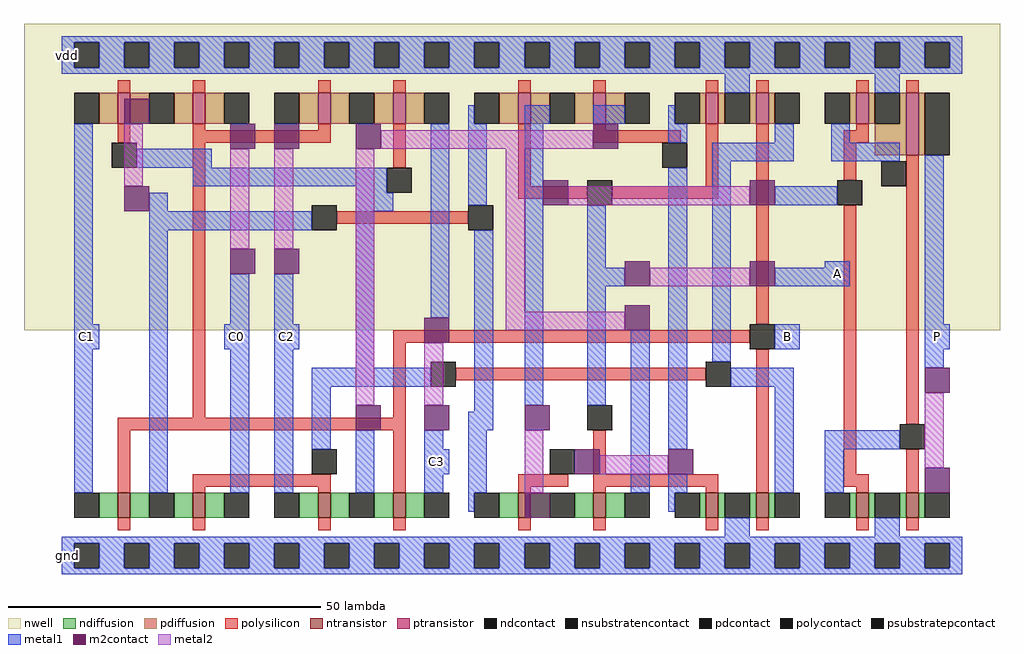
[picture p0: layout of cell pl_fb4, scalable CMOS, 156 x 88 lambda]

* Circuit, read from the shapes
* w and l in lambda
.subckt pl_fb4 A B C0 C1 C2 C3 P vdd gnd
M1 n1 B C1 gnd nfet w=4 l=2
M2 C0 n2 n1 gnd nfet w=4 l=2
M3 n3 n2 C2 gnd nfet w=4 l=2
M4 C3 B n3 gnd nfet w=4 l=2
M5 n4 n5 n1 gnd nfet w=4 l=2
M6 n3 A n4 gnd nfet w=4 l=2
M7 gnd A n5 gnd nfet w=4 l=2
M8 n2 B gnd gnd nfet w=4 l=2
M9 gnd n4 n6 gnd nfet w=4 l=2
M10 P n6 gnd gnd nfet w=4 l=2
M11 n1 n2 C1 vdd pfet w=5 l=2
M12 C0 B n1 vdd pfet w=5 l=2
M13 n3 B C2 vdd pfet w=5 l=2
M14 C3 n2 n3 vdd pfet w=5 l=2
M15 n4 A n1 vdd pfet w=5 l=2
M16 n3 n5 n4 vdd pfet w=5 l=2
M17 vdd A n5 vdd pfet w=5 l=2
M18 n2 B vdd vdd pfet w=5 l=2
M19 vdd n4 n6 vdd pfet w=5 l=2
M20 P n6 vdd vdd pfet w=10 l=2
.ends

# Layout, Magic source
magic
tech scmos
<< nwell >>
rect -6 36 150 85
<< ndiffusion >>
rect 6 6 9 10
rect 11 6 14 10
rect 18 6 21 10
rect 23 6 26 10
rect 38 6 41 10
rect 43 6 46 10
rect 50 6 53 10
rect 55 6 58 10
rect 70 6 73 10
rect 75 6 78 10
rect 82 6 85 10
rect 87 6 90 10
rect 102 6 103 10
rect 105 6 106 10
rect 110 6 111 10
rect 113 6 114 10
rect 126 6 127 10
rect 129 6 130 10
rect 134 6 135 10
rect 137 6 138 10
<< pdiffusion >>
rect 130 64 135 69
rect 137 64 138 74
rect 6 69 9 74
rect 11 69 14 74
rect 18 69 21 74
rect 23 69 26 74
rect 38 69 41 74
rect 43 69 46 74
rect 50 69 53 74
rect 55 69 58 74
rect 70 69 73 74
rect 75 69 78 74
rect 82 69 85 74
rect 87 69 90 74
rect 102 69 103 74
rect 105 69 106 74
rect 110 69 111 74
rect 113 69 114 74
rect 126 69 127 74
rect 129 69 130 74
rect 134 69 135 74
<< polysilicon >>
rect 9 4 11 6
rect 21 4 23 6
rect 41 4 43 6
rect 53 4 55 6
rect 73 4 75 6
rect 85 4 87 6
rect 103 4 105 6
rect 111 4 113 6
rect 127 4 129 6
rect 135 4 137 6
rect 9 10 11 20
rect 21 10 23 11
rect 41 10 43 11
rect 53 10 55 20
rect 73 10 75 11
rect 85 10 87 11
rect 103 10 105 11
rect 111 10 113 33
rect 127 10 129 11
rect 135 10 137 17
rect 21 11 43 13
rect 73 11 81 13
rect 85 11 105 13
rect 125 11 129 13
rect 85 13 87 20
rect 125 13 127 56
rect 9 20 55 22
rect 135 21 137 64
rect 21 22 23 66
rect 53 22 55 34
rect 63 28 103 30
rect 53 34 110 36
rect 111 37 113 69
rect 44 53 65 55
rect 73 57 84 59
rect 88 57 105 59
rect 73 59 75 69
rect 103 59 105 69
rect 125 60 127 66
rect 53 62 55 69
rect 9 66 11 69
rect 21 66 43 68
rect 85 66 99 68
rect 125 66 129 68
rect 21 68 23 69
rect 41 68 43 69
rect 85 68 87 69
rect 127 68 129 69
rect 9 74 11 76
rect 21 74 23 76
rect 41 74 43 76
rect 53 74 55 76
rect 73 74 75 76
rect 85 74 87 76
rect 103 74 105 76
rect 111 74 113 76
rect 127 74 129 76
rect 135 74 137 76
<< ntransistor >>
rect 9 6 11 10
rect 21 6 23 10
rect 41 6 43 10
rect 53 6 55 10
rect 73 6 75 10
rect 85 6 87 10
rect 103 6 105 10
rect 111 6 113 10
rect 127 6 129 10
rect 135 6 137 10
<< ptransistor >>
rect 135 64 137 74
rect 9 69 11 74
rect 21 69 23 74
rect 41 69 43 74
rect 53 69 55 74
rect 73 69 75 74
rect 85 69 87 74
rect 103 69 105 74
rect 111 69 113 74
rect 127 69 129 74
<< ndcontact >>
rect 2 6 6 10
rect 14 6 18 10
rect 26 6 30 10
rect 34 6 38 10
rect 46 6 50 10
rect 58 6 62 10
rect 66 6 70 10
rect 78 6 82 10
rect 90 6 94 10
rect 98 6 102 10
rect 106 6 110 10
rect 114 6 118 10
rect 122 6 126 10
rect 130 6 134 10
rect 138 6 142 10
<< pdcontact >>
rect 138 64 142 74
rect 2 69 6 74
rect 14 69 18 74
rect 26 69 30 74
rect 34 69 38 74
rect 46 69 50 74
rect 58 69 62 74
rect 66 69 70 74
rect 78 69 82 74
rect 90 69 94 74
rect 98 69 102 74
rect 106 69 110 74
rect 114 69 118 74
rect 122 69 126 74
rect 130 69 134 74
<< polycontact >>
rect 40 13 44 17
rect 78 13 82 17
rect 134 17 138 21
rect 84 20 88 24
rect 59 27 63 31
rect 103 27 107 31
rect 110 33 114 37
rect 40 52 44 56
rect 65 52 69 56
rect 84 56 88 60
rect 124 56 128 60
rect 52 58 56 62
rect 131 59 135 63
rect 8 62 12 66
rect 96 62 100 66
<< psubstratepcontact >>
rect 2 -2 6 2
rect 10 -2 14 2
rect 18 -2 22 2
rect 26 -2 30 2
rect 34 -2 38 2
rect 42 -2 46 2
rect 50 -2 54 2
rect 58 -2 62 2
rect 66 -2 70 2
rect 74 -2 78 2
rect 82 -2 86 2
rect 90 -2 94 2
rect 98 -2 102 2
rect 106 -2 110 2
rect 114 -2 118 2
rect 122 -2 126 2
rect 130 -2 134 2
rect 138 -2 142 2
<< nsubstratencontact >>
rect 2 78 6 82
rect 10 78 14 82
rect 18 78 22 82
rect 26 78 30 82
rect 34 78 38 82
rect 42 78 46 82
rect 50 78 54 82
rect 58 78 62 82
rect 66 78 70 82
rect 74 78 78 82
rect 82 78 86 82
rect 90 78 94 82
rect 98 78 102 82
rect 106 78 110 82
rect 114 78 118 82
rect 122 78 126 82
rect 130 78 134 82
rect 138 78 142 82
<< metal1 >>
rect 0 -3 144 -2
rect 0 -2 2 2
rect 6 -2 10 2
rect 14 -2 18 2
rect 22 -2 26 2
rect 30 -2 34 2
rect 38 -2 42 2
rect 46 -2 50 2
rect 54 -2 58 2
rect 62 -2 66 2
rect 70 -2 74 2
rect 78 -2 82 2
rect 86 -2 90 2
rect 94 -2 98 2
rect 102 -2 106 2
rect 110 -2 114 2
rect 118 -2 122 2
rect 126 -2 130 2
rect 134 -2 138 2
rect 142 -2 144 2
rect 0 2 144 3
rect 106 3 110 6
rect 130 3 134 6
rect 65 7 66 10
rect 97 7 98 10
rect 2 10 5 33
rect 14 10 17 52
rect 27 10 30 33
rect 34 10 37 33
rect 47 10 50 20
rect 58 10 61 13
rect 65 10 68 20
rect 91 10 94 36
rect 97 10 100 13
rect 114 10 117 27
rect 122 10 125 17
rect 58 13 62 17
rect 40 17 43 27
rect 58 17 61 20
rect 97 17 100 62
rect 122 17 134 20
rect 65 20 69 23
rect 66 23 69 52
rect 74 24 77 69
rect 84 24 87 43
rect 40 27 59 30
rect 107 27 117 30
rect 47 30 50 55
rect 138 30 141 33
rect 104 31 107 63
rect 2 33 6 37
rect 26 33 30 37
rect 34 33 38 37
rect 114 33 118 37
rect 138 33 142 37
rect 2 37 5 69
rect 27 37 30 45
rect 34 37 37 45
rect 138 37 141 64
rect 59 38 62 69
rect 84 43 90 46
rect 114 43 126 46
rect 84 46 87 56
rect 122 46 126 47
rect 14 52 40 55
rect 14 55 17 58
rect 47 55 53 58
rect 65 56 68 69
rect 114 56 124 59
rect 47 58 52 59
rect 21 59 52 62
rect 12 62 24 65
rect 104 63 117 66
rect 123 63 134 66
rect 97 66 100 69
rect 114 66 117 69
rect 123 66 126 69
rect 65 69 66 72
rect 74 69 78 72
rect 85 69 90 72
rect 97 69 98 72
rect 106 74 110 77
rect 130 74 134 77
rect 0 77 144 78
rect 0 78 2 82
rect 6 78 10 82
rect 14 78 18 82
rect 22 78 26 82
rect 30 78 34 82
rect 38 78 42 82
rect 46 78 50 82
rect 54 78 58 82
rect 62 78 66 82
rect 70 78 74 82
rect 78 78 82 82
rect 86 78 90 82
rect 94 78 98 82
rect 102 78 106 82
rect 110 78 114 82
rect 118 78 122 82
rect 126 78 130 82
rect 134 78 138 82
rect 142 78 144 82
rect 0 82 144 83
<< m2contact >>
rect 74 6 78 10
rect 138 10 142 14
rect 82 13 86 17
rect 97 13 101 17
rect 47 20 51 24
rect 58 20 62 24
rect 74 20 78 24
rect 138 26 142 30
rect 58 34 62 38
rect 90 36 94 40
rect 90 43 94 47
rect 110 43 114 47
rect 27 45 31 49
rect 34 45 38 49
rect 10 55 14 59
rect 77 56 81 60
rect 110 56 114 60
rect 27 65 31 69
rect 34 65 38 69
rect 47 65 51 69
rect 85 65 89 69
rect 10 69 14 73
<< metal2 >>
rect 74 10 77 20
rect 86 13 97 16
rect 138 14 141 26
rect 47 24 50 65
rect 58 24 61 34
rect 71 36 90 39
rect 71 39 74 65
rect 94 43 110 46
rect 27 49 30 65
rect 34 49 37 65
rect 81 56 110 59
rect 10 59 13 69
rect 51 65 85 68
<< labels >>
rlabel metal1 s 122 43 126 47 0 A
port 1 nsew signal input
rlabel metal1 s 114 33 118 37 0 B
port 2 nsew signal input
rlabel metal1 s 26 33 30 37 0 C0
port 3 nsew signal input
rlabel metal1 s 2 33 6 37 0 C1
port 4 nsew signal input
rlabel metal1 s 34 33 38 37 0 C2
port 5 nsew signal input
rlabel metal1 s 58 13 62 17 0 C3
port 6 nsew signal input
rlabel metal1 s 138 33 142 37 0 P
port 7 nsew signal output
rlabel metal1 s 0 77 2 83 0 vdd
port 8 nsew power bidirectional
rlabel metal1 s 0 -3 2 3 0 gnd
port 9 nsew ground bidirectional
<< properties >>
string FIXED_BBOX 0 0 144 80
<< end >>
